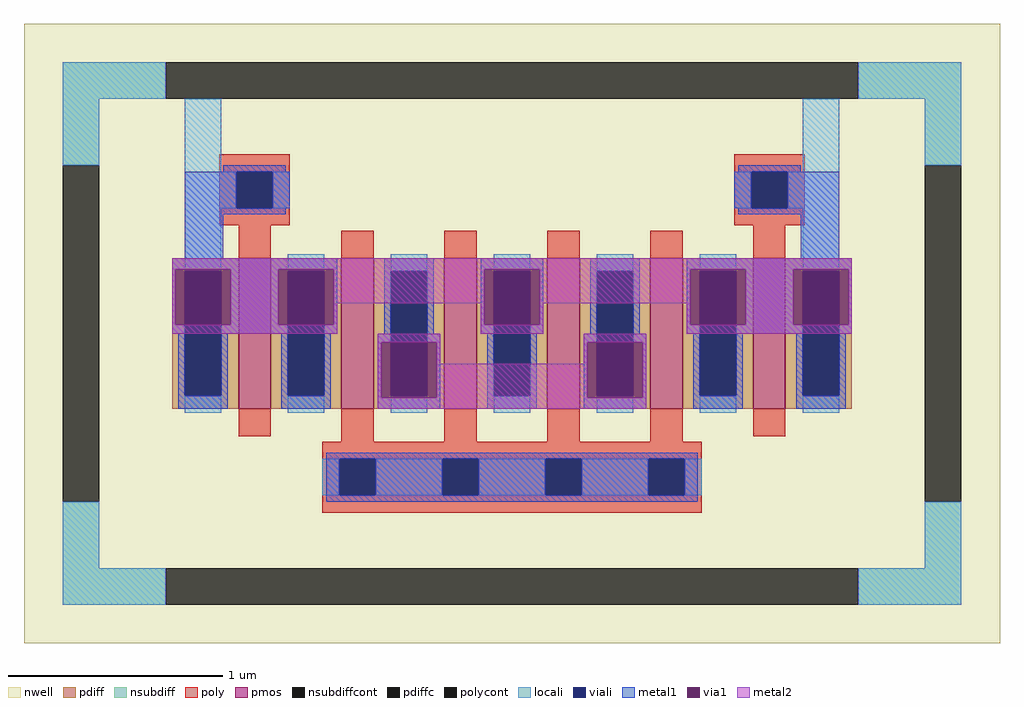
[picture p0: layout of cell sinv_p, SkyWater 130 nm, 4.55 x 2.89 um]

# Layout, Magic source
magic
tech sky130A
magscale 1 2
<< nwell >>
rect -455 -289 455 289
<< pmos >>
rect -255 -70 -225 70
rect -159 -70 -129 70
rect -63 -70 -33 70
rect 33 -70 63 70
rect 129 -70 159 70
rect 225 -70 255 70
<< pdiff >>
rect -317 58 -255 70
rect -317 -58 -305 58
rect -271 -58 -255 58
rect -317 -70 -255 -58
rect -225 58 -159 70
rect -225 -58 -209 58
rect -175 -58 -159 58
rect -225 -70 -159 -58
rect -129 58 -63 70
rect -129 -58 -113 58
rect -79 -58 -63 58
rect -129 -70 -63 -58
rect -33 58 33 70
rect -33 -58 -17 58
rect 17 -58 33 58
rect -33 -70 33 -58
rect 63 58 129 70
rect 63 -58 79 58
rect 113 -58 129 58
rect 63 -70 129 -58
rect 159 58 225 70
rect 159 -58 175 58
rect 209 -58 225 58
rect 159 -70 225 -58
rect 255 58 317 70
rect 255 -58 271 58
rect 305 -58 317 58
rect 255 -70 317 -58
<< pdiffc >>
rect -305 -58 -271 58
rect -209 -58 -175 58
rect -113 -58 -79 58
rect -17 -58 17 58
rect 79 -58 113 58
rect 175 -58 209 58
rect 271 -58 305 58
<< nsubdiff >>
rect -419 219 -323 253
rect 323 219 419 253
rect -419 157 -385 219
rect 385 157 419 219
rect -419 -219 -385 -157
rect 385 -219 419 -157
rect -419 -253 -323 -219
rect 323 -253 419 -219
<< nsubdiffcont >>
rect -323 219 323 253
rect -419 -157 -385 157
rect 385 -157 419 157
rect -323 -253 323 -219
<< poly >>
rect -273 151 -207 167
rect -273 117 -257 151
rect -223 117 -207 151
rect -273 101 -207 117
rect 207 151 273 167
rect 207 117 223 151
rect 257 117 273 151
rect 207 101 273 117
rect -255 70 -225 101
rect -159 70 -129 96
rect -63 70 -33 96
rect 33 70 63 96
rect 129 70 159 96
rect 225 70 255 101
rect -255 -96 -225 -70
rect -159 -101 -129 -70
rect -63 -101 -33 -70
rect 33 -101 63 -70
rect 129 -101 159 -70
rect 225 -96 255 -70
rect -177 -117 177 -101
rect -177 -151 -161 -117
rect -127 -151 -65 -117
rect -31 -151 31 -117
rect 65 -151 127 -117
rect 161 -151 177 -117
rect -177 -167 177 -151
<< polycont >>
rect -257 117 -223 151
rect 223 117 257 151
rect -161 -151 -127 -117
rect -65 -151 -31 -117
rect 31 -151 65 -117
rect 127 -151 161 -117
<< locali >>
rect -419 219 -323 253
rect 323 219 419 253
rect -419 157 -385 219
rect -305 151 -271 219
rect 271 151 305 219
rect -305 117 -257 151
rect -223 117 -207 151
rect 207 117 223 151
rect 257 117 305 151
rect -305 58 -271 117
rect -305 -74 -271 -58
rect -209 58 -175 74
rect -209 -74 -175 -58
rect -113 58 -79 74
rect -113 -74 -79 -58
rect -17 58 17 74
rect -17 -74 17 -58
rect 79 58 113 74
rect 79 -74 113 -58
rect 175 58 209 74
rect 175 -74 209 -58
rect 271 58 305 117
rect 271 -74 305 -58
rect 385 157 419 219
rect -177 -151 -161 -117
rect -127 -151 -65 -117
rect -31 -151 31 -117
rect 65 -151 127 -117
rect 161 -151 177 -117
rect -419 -219 -385 -157
rect 385 -219 419 -157
rect -419 -253 -323 -219
rect 323 -253 419 -219
<< viali >>
rect -257 117 -223 151
rect 223 117 257 151
rect -305 -58 -271 58
rect -209 -58 -175 58
rect -113 -58 -79 58
rect -17 -58 17 58
rect 79 -58 113 58
rect 175 -58 209 58
rect 271 -58 305 58
rect -161 -151 -127 -117
rect -65 -151 -31 -117
rect 31 -151 65 -117
rect 127 -151 161 -117
<< metal1 >>
rect -269 151 -211 157
rect 211 151 269 157
rect -305 117 -257 151
rect -223 117 -207 151
rect 207 117 223 151
rect 257 117 305 151
rect -305 111 -211 117
rect 211 111 305 117
rect -305 70 -269 111
rect 269 70 305 111
rect -317 60 -163 70
rect -317 8 -314 60
rect -262 8 -218 60
rect -166 8 -163 60
rect -317 0 -305 8
rect -311 -58 -305 0
rect -271 0 -209 8
rect -271 -58 -265 0
rect -311 -70 -265 -58
rect -215 -58 -209 0
rect -175 0 -163 8
rect -119 58 -73 70
rect -119 0 -113 58
rect -175 -58 -169 0
rect -215 -70 -169 -58
rect -125 -8 -113 0
rect -79 0 -73 58
rect -29 60 29 70
rect -29 8 -26 60
rect 26 8 29 60
rect -29 0 -17 8
rect -79 -8 -67 0
rect -125 -60 -122 -8
rect -70 -60 -67 -8
rect -125 -70 -67 -60
rect -23 -58 -17 0
rect 17 0 29 8
rect 73 58 119 70
rect 73 0 79 58
rect 17 -58 23 0
rect -23 -70 23 -58
rect 67 -8 79 0
rect 113 0 119 58
rect 163 60 317 70
rect 163 8 166 60
rect 218 8 262 60
rect 314 8 317 60
rect 163 0 175 8
rect 113 -8 125 0
rect 67 -60 70 -8
rect 122 -60 125 -8
rect 67 -70 125 -60
rect 169 -58 175 0
rect 209 0 271 8
rect 209 -58 215 0
rect 169 -70 215 -58
rect 265 -58 271 0
rect 305 0 317 8
rect 305 -58 311 0
rect 265 -70 311 -58
rect -173 -117 173 -111
rect -173 -151 -161 -117
rect -127 -151 -65 -117
rect -31 -151 31 -117
rect 65 -151 127 -117
rect 161 -151 173 -117
rect -173 -157 173 -151
<< via1 >>
rect -314 58 -262 60
rect -314 8 -305 58
rect -305 8 -271 58
rect -271 8 -262 58
rect -218 58 -166 60
rect -218 8 -209 58
rect -209 8 -175 58
rect -175 8 -166 58
rect -26 58 26 60
rect -26 8 -17 58
rect -17 8 17 58
rect 17 8 26 58
rect -122 -58 -113 -8
rect -113 -58 -79 -8
rect -79 -58 -70 -8
rect -122 -60 -70 -58
rect 166 58 218 60
rect 166 8 175 58
rect 175 8 209 58
rect 209 8 218 58
rect 262 58 314 60
rect 262 8 271 58
rect 271 8 305 58
rect 305 8 314 58
rect 70 -58 79 -8
rect 79 -58 113 -8
rect 113 -58 122 -8
rect 70 -60 122 -58
<< metal2 >>
rect -317 60 317 70
rect -317 8 -314 60
rect -262 8 -218 60
rect -166 28 -26 60
rect -166 8 -163 28
rect -317 0 -163 8
rect -29 8 -26 28
rect 26 28 166 60
rect 26 8 29 28
rect -29 0 29 8
rect 163 8 166 28
rect 218 8 262 60
rect 314 8 317 60
rect 163 0 317 8
rect -125 -8 -67 0
rect -125 -60 -122 -8
rect -70 -28 -67 -8
rect 67 -8 125 0
rect 67 -28 70 -8
rect -70 -60 70 -28
rect 122 -60 125 -8
rect -125 -70 125 -60
<< properties >>
string FIXED_BBOX -402 -236 402 236
string gencell sky130_fd_pr__pfet_01v8
string library sky130
string parameters w 0.7 l 0.15 m 1 nf 6 diffcov 100 polycov 100 guard 1 glc 1 grc 1 gtc 1 gbc 1 tbcov 100 rlcov 100 topc 1 botc 1 poverlap 0 doverlap 1 lmin 0.15 wmin 0.42 compatible {sky130_fd_pr__pfet_01v8  sky130_fd_pr__pfet_01v8_lvt sky130_fd_pr__pfet_01v8_hvt  sky130_fd_pr__pfet_g5v0d10v5} full_metal 1 viasrc 100 viadrn 100 viagate 100 viagb 0 viagr 0 viagl 0 viagt 0
<< end >>
